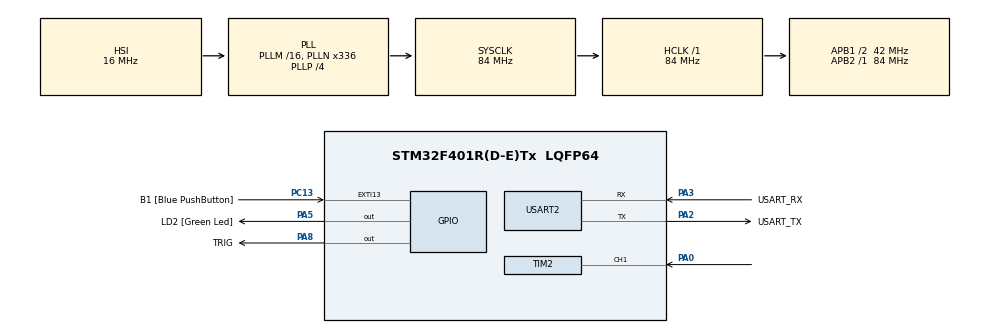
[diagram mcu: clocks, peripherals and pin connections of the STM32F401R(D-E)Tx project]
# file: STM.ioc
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Mcu.Family=STM32F4
Mcu.Name=STM32F401R(D-E)Tx
Mcu.Package=LQFP64
NVIC.PriorityGroup=NVIC_PRIORITYGROUP_0
NVIC.TIM2_IRQn=true\:0\:0\:false\:false\:true\:true\:true
PA0-WKUP.Signal=S_TIM2_CH1_ETR
PA13.GPIO_Label=TMS
PA13.Mode=Serial_Wire
PA13.Signal=SYS_JTMS-SWDIO
PA14.GPIO_Label=TCK
PA14.Mode=Serial_Wire
PA14.Signal=SYS_JTCK-SWCLK
PA2.GPIO_Label=USART_TX
PA2.GPIO_Mode=GPIO_MODE_AF_PP
PA2.GPIO_PuPd=GPIO_NOPULL
PA2.GPIO_Speed=GPIO_SPEED_FREQ_LOW
PA2.Mode=Asynchronous
PA2.Signal=USART2_TX
PA3.GPIO_Label=USART_RX
PA3.GPIO_Mode=GPIO_MODE_AF_PP
PA3.GPIO_PuPd=GPIO_NOPULL
PA3.GPIO_Speed=GPIO_SPEED_FREQ_LOW
PA3.Mode=Asynchronous
PA3.Signal=USART2_RX
PA5.GPIO_Label=LD2 [Green Led]
PA5.GPIO_Mode=GPIO_MODE_OUTPUT_PP
PA5.GPIO_PuPd=GPIO_NOPULL
PA5.GPIO_Speed=GPIO_SPEED_FREQ_LOW
PA5.Signal=GPIO_Output
PA8.GPIO_Label=TRIG
PA8.Signal=GPIO_Output
PB3.GPIO_Label=SWO
PB3.Signal=SYS_JTDO-SWO
PC13-ANTI_TAMP.GPIO_Label=B1 [Blue PushButton]
PC13-ANTI_TAMP.GPIO_ModeDefaultEXTI=GPIO_MODE_IT_FALLING
PC13-ANTI_TAMP.GPIO_PuPd=GPIO_NOPULL
PC13-ANTI_TAMP.Signal=GPXTI13
PC14-OSC32_IN.Mode=LSE-External-Oscillator
PC14-OSC32_IN.Signal=RCC_OSC32_IN
PC15-OSC32_OUT.Mode=LSE-External-Oscillator
PC15-OSC32_OUT.Signal=RCC_OSC32_OUT
PH0\ -\ OSC_IN.Mode=HSE-External-Clock-Source
PH0\ -\ OSC_IN.Signal=RCC_OSC_IN
PH1\ -\ OSC_OUT.Mode=HSE-External-Clock-Source
PH1\ -\ OSC_OUT.Signal=RCC_OSC_OUT
ProjectManager.HeapSize=0x200
ProjectManager.StackSize=0x400
ProjectManager.TargetToolchain=STM32CubeIDE
RCC.48MHZClocksFreq_Value=48000000
RCC.AHBFreq_Value=84000000
RCC.APB1CLKDivider=RCC_HCLK_DIV2
RCC.APB1Freq_Value=42000000
RCC.APB1TimFreq_Value=84000000
RCC.APB2Freq_Value=84000000
RCC.APB2TimFreq_Value=84000000
RCC.CortexFreq_Value=84000000
RCC.HCLKFreq_Value=84000000
RCC.HSE_VALUE=8000000
RCC.HSI_VALUE=16000000
RCC.PLLN=336
RCC.PLLP=RCC_PLLP_DIV4
RCC.PLLQ=7
RCC.SYSCLKFreq_VALUE=84000000
RCC.SYSCLKSource=RCC_SYSCLKSOURCE_PLLCLK
RCC.VCOOutputFreq_Value=336000000
SH.S_TIM2_CH1_ETR.0=TIM2_CH1,Input_Capture1_from_TI1
TIM2.Channel-Input_Capture1_from_TI1=TIM_CHANNEL_1
TIM2.ICFilter_CH1=5
TIM2.Period=0
TIM2.Prescaler=84-1
USART2.VirtualMode=VM_ASYNC
VP_TIM2_VS_ClockSourceINT.Mode=Internal
VP_TIM4_VS_ClockSourceINT.Mode=Internal
board=NUCLEO-F401RE

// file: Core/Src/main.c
/* USER CODE BEGIN Header */
/**
  ******************************************************************************
  * @file           : main.c
  * @brief          : Main program body
  ******************************************************************************
  * @attention
  *
  * <h2><center>&copy; Copyright (c) 2022 STMicroelectronics.
  * All rights reserved.</center></h2>
  *
  * This software component is licensed by ST under BSD 3-Clause license,
  * the "License"; You may not use this file except in compliance with the
  * License. You may obtain a copy of the License at:
  *                        opensource.org/licenses/BSD-3-Clause
  *
  ******************************************************************************
  */
/* USER CODE END Header */
#include "main.h"

/* USER CODE BEGIN PTD */
#define usTIM TIM4
/* USER CODE END PTD */

TIM_HandleTypeDef htim2;
TIM_HandleTypeDef htim4;

UART_HandleTypeDef huart2;

void SystemClock_Config(void);
static void MX_GPIO_Init(void);
static void MX_USART2_UART_Init(void);
static void MX_TIM2_Init(void);
static void MX_TIM4_Init(void);
/* USER CODE BEGIN PFP */
void usDelay(uint32_t uSec);
void calculateDistance(void);
void checkState(void);
/* USER CODE END PFP */

/* USER CODE BEGIN 0 */
char uartBuf[100];
char Rx_data[2] = "";
uint8_t icFlag = 0;
uint8_t captureIdx=0;
uint32_t edge1Time=0, edge2Time=0;
const float speedOfSound = 0.0343/2;
float distance;
float distancePrev;
float diffDistance = 0.0;
int isWaitingDark = 0 ;
int isLightOn = 0;
char state[2] = "";
char state0[] = "00";
char state1[] = "01";
char state2[] = "10";
char state3[] = "11";
/* USER CODE END 0 */

int main(void)
{

  /* MCU Configuration--------------------------------------------------------*/

  /* Reset of all peripherals, Initializes the Flash interface and the Systick. */
  HAL_Init();

  /* Configure the system clock */
  SystemClock_Config();

  /* Initialize all configured peripherals */
  MX_GPIO_Init();
  MX_USART2_UART_Init();
  MX_TIM2_Init();
  MX_TIM4_Init();

  /* Infinite loop */
  while (1)
  {

    /* USER CODE BEGIN 3 */
	  	calculateDistance();
//	  	  	checkState();
		//Print to UART terminal for debugging
//	  	    HAL_UART_Transmit(&huart2,state, strlen(state), 100);
		sprintf(uartBuf, "Distance (cm)  = %.1f\r\n", distance);
		HAL_UART_Transmit(&huart2, (uint8_t *)uartBuf, strlen(uartBuf), 100);

		HAL_Delay(400);
  }
  /* USER CODE END 3 */
}

void SystemClock_Config(void)
{
  RCC_OscInitTypeDef RCC_OscInitStruct = {0};
  RCC_ClkInitTypeDef RCC_ClkInitStruct = {0};

  /** Configure the main internal regulator output voltage
  */
  __HAL_RCC_PWR_CLK_ENABLE();
  __HAL_PWR_VOLTAGESCALING_CONFIG(PWR_REGULATOR_VOLTAGE_SCALE2);
  /** Initializes the RCC Oscillators according to the specified parameters
  * in the RCC_OscInitTypeDef structure.
  */
  RCC_OscInitStruct.OscillatorType = RCC_OSCILLATORTYPE_HSI;
  RCC_OscInitStruct.HSIState = RCC_HSI_ON;
  RCC_OscInitStruct.HSICalibrationValue = RCC_HSICALIBRATION_DEFAULT;
  RCC_OscInitStruct.PLL.PLLState = RCC_PLL_ON;
  RCC_OscInitStruct.PLL.PLLSource = RCC_PLLSOURCE_HSI;
  RCC_OscInitStruct.PLL.PLLM = 16;
  RCC_OscInitStruct.PLL.PLLN = 336;
  RCC_OscInitStruct.PLL.PLLP = RCC_PLLP_DIV4;
  RCC_OscInitStruct.PLL.PLLQ = 7;
  if (HAL_RCC_OscConfig(&RCC_OscInitStruct) != HAL_OK)
  {
    Error_Handler();
  }
  /** Initializes the CPU, AHB and APB buses clocks
  */
  RCC_ClkInitStruct.ClockType = RCC_CLOCKTYPE_HCLK|RCC_CLOCKTYPE_SYSCLK
                              |RCC_CLOCKTYPE_PCLK1|RCC_CLOCKTYPE_PCLK2;
  RCC_ClkInitStruct.SYSCLKSource = RCC_SYSCLKSOURCE_PLLCLK;
  RCC_ClkInitStruct.AHBCLKDivider = RCC_SYSCLK_DIV1;
  RCC_ClkInitStruct.APB1CLKDivider = RCC_HCLK_DIV2;
  RCC_ClkInitStruct.APB2CLKDivider = RCC_HCLK_DIV1;

  if (HAL_RCC_ClockConfig(&RCC_ClkInitStruct, FLASH_LATENCY_2) != HAL_OK)
  {
    Error_Handler();
  }
}

static void MX_TIM2_Init(void)
{

  TIM_ClockConfigTypeDef sClockSourceConfig = {0};
  TIM_MasterConfigTypeDef sMasterConfig = {0};
  TIM_IC_InitTypeDef sConfigIC = {0};

  htim2.Instance = TIM2;
  htim2.Init.Prescaler = 84-1;
  htim2.Init.CounterMode = TIM_COUNTERMODE_UP;
  htim2.Init.Period = 0;
  htim2.Init.ClockDivision = TIM_CLOCKDIVISION_DIV1;
  htim2.Init.AutoReloadPreload = TIM_AUTORELOAD_PRELOAD_DISABLE;
  if (HAL_TIM_Base_Init(&htim2) != HAL_OK)
  {
    Error_Handler();
  }
  sClockSourceConfig.ClockSource = TIM_CLOCKSOURCE_INTERNAL;
  if (HAL_TIM_ConfigClockSource(&htim2, &sClockSourceConfig) != HAL_OK)
  {
    Error_Handler();
  }
  if (HAL_TIM_IC_Init(&htim2) != HAL_OK)
  {
    Error_Handler();
  }
  sMasterConfig.MasterOutputTrigger = TIM_TRGO_RESET;
  sMasterConfig.MasterSlaveMode = TIM_MASTERSLAVEMODE_DISABLE;
  if (HAL_TIMEx_MasterConfigSynchronization(&htim2, &sMasterConfig) != HAL_OK)
  {
    Error_Handler();
  }
  sConfigIC.ICPolarity = TIM_INPUTCHANNELPOLARITY_RISING;
  sConfigIC.ICSelection = TIM_ICSELECTION_DIRECTTI;
  sConfigIC.ICPrescaler = TIM_ICPSC_DIV1;
  sConfigIC.ICFilter = 5;
  if (HAL_TIM_IC_ConfigChannel(&htim2, &sConfigIC, TIM_CHANNEL_1) != HAL_OK)
  {
    Error_Handler();
  }

}

static void MX_TIM4_Init(void)
{

  TIM_ClockConfigTypeDef sClockSourceConfig = {0};
  TIM_MasterConfigTypeDef sMasterConfig = {0};

  htim4.Instance = TIM4;
  htim4.Init.Prescaler = 0;
  htim4.Init.CounterMode = TIM_COUNTERMODE_UP;
  htim4.Init.Period = 65535;
  htim4.Init.ClockDivision = TIM_CLOCKDIVISION_DIV1;
  htim4.Init.AutoReloadPreload = TIM_AUTORELOAD_PRELOAD_DISABLE;
  if (HAL_TIM_Base_Init(&htim4) != HAL_OK)
  {
    Error_Handler();
  }
  sClockSourceConfig.ClockSource = TIM_CLOCKSOURCE_INTERNAL;
  if (HAL_TIM_ConfigClockSource(&htim4, &sClockSourceConfig) != HAL_OK)
  {
    Error_Handler();
  }
  sMasterConfig.MasterOutputTrigger = TIM_TRGO_RESET;
  sMasterConfig.MasterSlaveMode = TIM_MASTERSLAVEMODE_DISABLE;
  if (HAL_TIMEx_MasterConfigSynchronization(&htim4, &sMasterConfig) != HAL_OK)
  {
    Error_Handler();
  }

}

static void MX_USART2_UART_Init(void)
{

  huart2.Instance = USART2;
  huart2.Init.BaudRate = 115200;
  huart2.Init.WordLength = UART_WORDLENGTH_8B;
  huart2.Init.StopBits = UART_STOPBITS_1;
  huart2.Init.Parity = UART_PARITY_NONE;
  huart2.Init.Mode = UART_MODE_TX_RX;
  huart2.Init.HwFlowCtl = UART_HWCONTROL_NONE;
  huart2.Init.OverSampling = UART_OVERSAMPLING_16;
  if (HAL_UART_Init(&huart2) != HAL_OK)
  {
    Error_Handler();
  }

}

static void MX_GPIO_Init(void)
{
  GPIO_InitTypeDef GPIO_InitStruct = {0};

  /* GPIO Ports Clock Enable */
  __HAL_RCC_GPIOC_CLK_ENABLE();
  __HAL_RCC_GPIOH_CLK_ENABLE();
  __HAL_RCC_GPIOA_CLK_ENABLE();
  __HAL_RCC_GPIOB_CLK_ENABLE();

  /*Configure GPIO pin Output Level */
  HAL_GPIO_WritePin(GPIOA, LD2_Pin|TRIG_Pin, GPIO_PIN_RESET);

  /*Configure GPIO pin : B1_Pin */
  GPIO_InitStruct.Pin = B1_Pin;
  GPIO_InitStruct.Mode = GPIO_MODE_IT_FALLING;
  GPIO_InitStruct.Pull = GPIO_NOPULL;
  HAL_GPIO_Init(B1_GPIO_Port, &GPIO_InitStruct);

  /*Configure GPIO pins : LD2_Pin TRIG_Pin */
  GPIO_InitStruct.Pin = LD2_Pin|TRIG_Pin;
  GPIO_InitStruct.Mode = GPIO_MODE_OUTPUT_PP;
  GPIO_InitStruct.Pull = GPIO_NOPULL;
  GPIO_InitStruct.Speed = GPIO_SPEED_FREQ_LOW;
  HAL_GPIO_Init(GPIOA, &GPIO_InitStruct);

}

/* USER CODE BEGIN 4 */
void usDelay(uint32_t uSec)
{
	if(uSec < 2) uSec = 2;
	usTIM->ARR = uSec - 1; 	/*sets the value in the auto-reload register*/
	usTIM->EGR = 1; 			/*Re-initialises the timer*/
	usTIM->SR &= ~1; 		//Resets the flag
	usTIM->CR1 |= 1; 		//Enables the counter
	while((usTIM->SR&0x0001) != 1);
	usTIM->SR &= ~(0x0001);
}
void HAL_TIM_IC_CaptureCallback(TIM_HandleTypeDef *htim)
{

		if(captureIdx == 0) //Fisrt edge
		{
			edge1Time = HAL_TIM_ReadCapturedValue(htim, TIM_CHANNEL_1); //__HAL_TIM_GetCounter(&htim3);//

			captureIdx = 1;
		}
		else if(captureIdx == 1) //Second edge
		{
			edge2Time = HAL_TIM_ReadCapturedValue(htim, TIM_CHANNEL_1);
			captureIdx = 0;
			icFlag = 1;
		}
}
void calculateDistance(void){
	//Set TRIG to LOW for few uSec
	HAL_GPIO_WritePin(TRIG_GPIO_Port, TRIG_Pin, GPIO_PIN_RESET);
	usDelay(3);

    //*** START Ultrasonic measure routine ***//
 	//1. Output 10 usec TRIG
	HAL_GPIO_WritePin(TRIG_GPIO_Port, TRIG_Pin, GPIO_PIN_SET);
  	usDelay(10);
 	HAL_GPIO_WritePin(TRIG_GPIO_Port, TRIG_Pin, GPIO_PIN_RESET);

	//2. ECHO signal pulse width

	//Start IC timer
	HAL_TIM_IC_Start_IT(&htim2, TIM_CHANNEL_1);
	//Wait for IC flag
	uint32_t startTick = HAL_GetTick();
	do
	{
		if(icFlag) break;
	}while((HAL_GetTick() - startTick) < 500);  //500ms
	icFlag = 0;
	HAL_TIM_IC_Stop_IT(&htim2, TIM_CHANNEL_1);

	//Calculate distance in cm
	if(edge2Time > edge1Time)
	{
		distance = ((edge2Time - edge1Time) + 0.0f)*speedOfSound;
	}
	diffDistance = distancePrev-distance;
	distancePrev = distance;
}
void checkState(void){
	if(strcmp(state,state0) == 0){
		HAL_GPIO_WritePin(GPIOC, GPIO_PIN_10, GPIO_PIN_SET);
		HAL_GPIO_WritePin(GPIOC, GPIO_PIN_12, GPIO_PIN_SET);
	}else if(strcmp(state,state1) == 0){
		char y[20];
		sprintf(y,"%s\r\n","check1");
		HAL_UART_Transmit(&huart2,y, strlen(y), 100);
		HAL_GPIO_WritePin(GPIOC, GPIO_PIN_10, GPIO_PIN_SET);
		HAL_GPIO_WritePin(GPIOC, GPIO_PIN_12, GPIO_PIN_SET);
	}else if(strcmp(state,state2) == 0){

		HAL_GPIO_WritePin(GPIOC, GPIO_PIN_10, GPIO_PIN_SET);
		HAL_GPIO_WritePin(GPIOC, GPIO_PIN_12, GPIO_PIN_SET);
		if(diffDistance >= 20 ){
			char z[10];
			sprintf(z,"%s\r\n","check2+d");
			HAL_UART_Transmit(&huart2,z, strlen(z), 100);
		}
		char v[20];
		sprintf(v,"%s\r\n","check2");
		HAL_UART_Transmit(&huart2,v, strlen(v), 100);
	}
	else if (strcmp(state,state3) == 0){
		HAL_GPIO_WritePin(GPIOC, GPIO_PIN_10, GPIO_PIN_RESET);
		HAL_GPIO_WritePin(GPIOC, GPIO_PIN_12, GPIO_PIN_RESET);
		char w[20];
		sprintf(w,"%s\r\n","check3");
		HAL_UART_Transmit(&huart2,w, strlen(w), 100);
	}
}
/* USER CODE END 4 */

void Error_Handler(void)
{
  __disable_irq();
  while (1)
  {
  }
}

/************************ (C) COPYRIGHT STMicroelectronics *****END OF FILE****/
